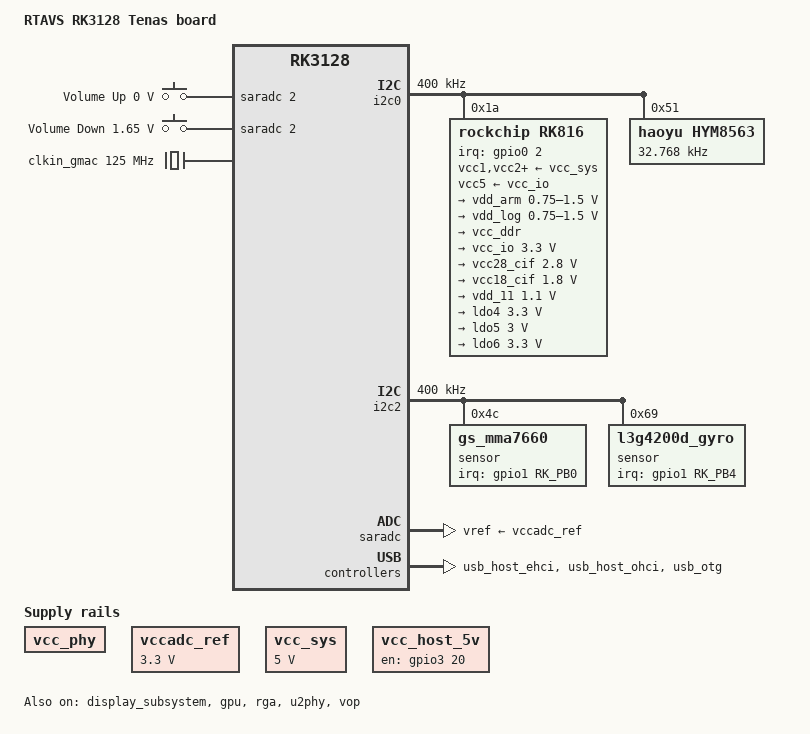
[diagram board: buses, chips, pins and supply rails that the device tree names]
/*
 * This file is dual-licensed: you can use it either under the terms
 * of the GPL or the X11 license, at your option. Note that this dual
 * licensing only applies to this file, and not this project as a
 * whole.
 *
 *  a) This file is free software; you can redistribute it and/or
 *     modify it under the terms of the GNU General Public License as
 *     published by the Free Software Foundation; either version 2 of the
 *     License, or (at your option) any later version.
 *
 *     This file is distributed in the hope that it will be useful,
 *     but WITHOUT ANY WARRANTY; without even the implied warranty of
 *     MERCHANTABILITY or FITNESS FOR A PARTICULAR PURPOSE.  See the
 *     GNU General Public License for more details.
 *
 *  Or, alternatively,
 *
 *  b) Permission is hereby granted, free of charge, to any person
 *     obtaining a copy of this software and associated documentation
 *     files (the "Software"), to deal in the Software without
 *     restriction, including without limitation the rights to use,
 *     copy, modify, merge, publish, distribute, sublicense, and/or
 *     sell copies of the Software, and to permit persons to whom the
 *     Software is furnished to do so, subject to the following
 *     conditions:
 *
 *     The above copyright notice and this permission notice shall be
 *     included in all copies or substantial portions of the Software.
 *
 *     THE SOFTWARE IS PROVIDED "AS IS", WITHOUT WARRANTY OF ANY KIND,
 *     EXPRESS OR IMPLIED, INCLUDING BUT NOT LIMITED TO THE WARRANTIES
 *     OF MERCHANTABILITY, FITNESS FOR A PARTICULAR PURPOSE AND
 *     NONINFRINGEMENT. IN NO EVENT SHALL THE AUTHORS OR COPYRIGHT
 *     HOLDERS BE LIABLE FOR ANY CLAIM, DAMAGES OR OTHER LIABILITY,
 *     WHETHER IN AN ACTION OF CONTRACT, TORT OR OTHERWISE, ARISING
 *     FROM, OUT OF OR IN CONNECTION WITH THE SOFTWARE OR THE USE OR
 *     OTHER DEALINGS IN THE SOFTWARE.
 */

/dts-v1/;
#include <dt-bindings/gpio/gpio.h>
#include <dt-bindings/input/input.h>
#include <dt-bindings/pinctrl/rockchip.h>
#include <dt-bindings/pwm/pwm.h>
#include <dt-bindings/sensor-dev.h>
#include "rk3128.dtsi"
#include "rk312x-android.dtsi"

/ {
	model = "RTAVS RK3128 Tenas board";
	compatible = "rtavs,rk3128-tenas", "rockchip,rk3128";

	adc-keys {
		compatible = "adc-keys";
		io-channels = <&saradc 2>;
		io-channel-names = "buttons";
		poll-interval = <100>;
		keyup-threshold-microvolt = <3300000>;

		button-up {
			label = "Volume Up";
			linux,code = <KEY_VOLUMEUP>;
			press-threshold-microvolt = <0>;
		};

		button-down {
			label = "Volume Down";
			linux,code = <KEY_VOLUMEDOWN>;
			press-threshold-microvolt = <1650000>;
		};
	};

	clkin_gmac: external-gmac-clock {
		compatible = "fixed-clock";
		clock-frequency = <125000000>;
		clock-output-names = "gmac_clkin";
		#clock-cells = <0>;
	};

	vcc_phy: vcc-phy-regulator {
		compatible = "regulator-fixed";
		enable-active-high;
		regulator-name = "vcc_phy";
		regulator-always-on;
		regulator-boot-on;
	};

	vccadc_ref: vccadc-ref {
		compatible = "regulator-fixed";
		regulator-name = "SARADC_AVDD33";
		regulator-always-on;
		regulator-boot-on;
		regulator-min-microvolt = <3300000>;
		regulator-max-microvolt = <3300000>;
	};

	vcc_sys: vcc-sys {
		compatible = "regulator-fixed";
		regulator-name = "vcc_sys";
		regulator-always-on;
		regulator-boot-on;
		regulator-min-microvolt = <5000000>;
		regulator-max-microvolt = <5000000>;
	};

	vcc_host_5v: vcc-host-5v-regulator {
		compatible = "regulator-fixed";
		enable-active-high;
		gpio = <&gpio3 20 GPIO_ACTIVE_HIGH>;
		pinctrl-names = "default";
		pinctrl-0 = <&host_vbus_drv>;
		regulator-name = "vcc_host_5v";
		regulator-always-on;
	};

	wireless-wlan {
		compatible = "wlan-platdata";

		wifi_chip_type = "rtl8723bs";
		/* WIFI,host_wake_irq = <&gpio3 GPIO_C7 GPIO_ACTIVE_HIGH>; */
		status = "okay";
	};
};

&cpu0 {
	cpu-supply = <&vdd_arm>;
};

&display_subsystem {
	status = "okay";
	route {
		route_lvds: route-lvds {
			status = "disabled";
		};
	};
};


&dmc {
	center-supply = <&vdd_log>;
};

&emmc {
	bus-width = <8>;
	cap-mmc-highspeed;
	supports-emmc;
	disable-wp;
	non-removable;
	num-slots = <1>;
	pinctrl-names = "default";
	pinctrl-0 = <&emmc_clk &emmc_cmd &emmc_bus8>;
	status = "disabled";
};

&gpu {
	status = "okay";
	mali-supply = <&vdd_log>;
};

&gmac {
	assigned-clocks = <&cru SCLK_MAC>;
	assigned-clock-parents = <&clkin_gmac>;
	clock_in_out = "input";
	pinctrl-names = "default";
	pinctrl-0 = <&rgmii_pins>;
	phy-supply = <&vcc_phy>;
	phy-mode = "rgmii";
	snps,reset-active-low;
	snps,reset-delays-us = <0 10000 50000>;
	snps,reset-gpio = <&gpio2 24 GPIO_ACTIVE_LOW>;
	tx_delay = <0x30>;
	rx_delay = <0x16>;
	status = "disabled";
};


&i2c0 {
	status = "okay";
	clock-frequency = <400000>;

	rk816: pmic@1a {
		compatible = "rockchip,rk816";
		reg = <0x1a>;
		interrupt-parent = <&gpio0>;
		interrupts = <2 IRQ_TYPE_LEVEL_LOW>;
		pinctrl-names = "default";
		pinctrl-0 = <&pmic_int_l>;
		rockchip,system-power-controller;
		wakeup-source;
		gpio-controller;
		#gpio-cells = <2>;
		#clock-cells = <1>;
		clock-output-names = "xin32k", "rk816-clkout2";
		extcon = <&u2phy>;

		vcc1-supply = <&vcc_sys>;
		vcc2-supply = <&vcc_sys>;
		vcc3-supply = <&vcc_sys>;
		vcc4-supply = <&vcc_sys>;
		vcc5-supply = <&vcc_io>;
		vcc6-supply = <&vcc_sys>;

		gpio {
			status = "okay";
		};

		pwrkey {
			status = "okay";
		};

		rtc {
			status = "okay";
		};

		battery {
			compatible = "rk816-battery";
			ocv_table = < 3500 3625 3685 3697 3718 3735 3748
					3760 3774 3788 3802 3816 3834 3853
					3877 3908 3946 3975 4018 4071 4106>;
			design_capacity = <2500>;
			design_qmax = <2750>;
			bat_res = <100>;
			max_input_current = <1500>;
			max_chrg_current = <1300>;
			max_chrg_voltage = <4200>;
			sleep_enter_current = <300>;
			sleep_exit_current = <300>;
			sleep_filter_current = <100>;
			power_off_thresd = <3500>;
			zero_algorithm_vol = <3850>;
			max_soc_offset = <60>;
			monitor_sec = <5>;
			virtual_power = <0>;
			power_dc2otg = <0>;
			dc_det_adc = <0>;
		};

		regulators {

			vdd_arm: DCDC_REG1{
				regulator-name= "vdd_arm";
				regulator-min-microvolt = <750000>;
				regulator-max-microvolt = <1500000>;
				regulator-ramp-delay = <6001>;
				regulator-always-on;
				regulator-boot-on;
				regulator-state-mem {
					regulator-on-in-suspend;
					regulator-suspend-microvolt = <900000>;
				};
			};

			vdd_log: DCDC_REG2 {
				regulator-name= "vdd_logic";
				regulator-min-microvolt = <750000>;
				regulator-max-microvolt = <1500000>;
				regulator-ramp-delay = <6001>;
				regulator-always-on;
				regulator-boot-on;
				regulator-state-mem {
					regulator-on-in-suspend;
					regulator-suspend-microvolt = <1000000>;
				};
			};

			vcc_ddr: DCDC_REG3 {
				regulator-name = "vcc_ddr";
				regulator-always-on;
				regulator-boot-on;
			};

			vcc_io: DCDC_REG4 {
				regulator-name = "vcc_io";
				regulator-min-microvolt = <3300000>;
				regulator-max-microvolt = <3300000>;
				regulator-always-on;
				regulator-boot-on;
				regulator-state-mem {
					regulator-on-in-suspend;
					regulator-suspend-microvolt = <3000000>;
				};
			};

			vcc28_cif: LDO_REG1 {
				regulator-name = "vcc28_cif";
				regulator-min-microvolt = <2800000>;
				regulator-max-microvolt = <2800000>;
				regulator-always-on;
				regulator-boot-on;
				regulator-state-mem {
					regulator-off-in-suspend;
				};
			};

			vcc18_cif: LDO_REG2 {
				regulator-name = "vcc18_cif";
				regulator-min-microvolt = <1800000>;
				regulator-max-microvolt = <1800000>;
				regulator-always-on;
				regulator-boot-on;
				regulator-state-mem {
					regulator-off-in-suspend;
				};
			};

			vdd_11: LDO_REG3 {
				regulator-name = "vdd_11";
				regulator-min-microvolt = <1100000>;
				regulator-max-microvolt = <1100000>;
				regulator-always-on;
				regulator-boot-on;
				regulator-state-mem {
					regulator-on-in-suspend;
					regulator-suspend-microvolt = <1100000>;
				};
			};

			ldo4: LDO_REG4 {
				regulator-name= "ldo4";
				regulator-min-microvolt = <3300000>;
				regulator-max-microvolt = <3300000>;
				regulator-always-on;
				regulator-boot-on;
				regulator-state-mem {
					regulator-off-in-suspend;
				};
			};

			ldo5: LDO_REG5 {
				regulator-name= "ldo5";
				regulator-min-microvolt = <3000000>;
				regulator-max-microvolt = <3000000>;
				regulator-always-on;
				regulator-boot-on;
				regulator-state-mem {
					regulator-on-in-suspend;
				};
			};

			ldo6: LDO_REG6 {
				regulator-name= "ldo6";
				regulator-min-microvolt = <3300000>;
				regulator-max-microvolt = <3300000>;
				regulator-state-mem {
					regulator-on-in-suspend;
					regulator-suspend-microvolt = <3300000>;
				};
			};
		};
	};

	hym8563: hym8563@51 {
		compatible = "haoyu,hym8563";
		reg = <0x51>;

/*
		interrupt-parent = <&gpio0>;
		interrupts = <11 IRQ_TYPE_EDGE_FALLING>;

		pinctrl-names = "default";
		pinctrl-0 = <&pmic_int_l>;
*/
		#clock-cells = <0>;
		clock-frequency = <32768>;
		clock-output-names = "xin32k";
   };
};



&i2c2 {
	status = "okay";
	clock-frequency = <400000>;

	sensor@4c {
		compatible = "gs_mma7660";
		reg = <0x4c>;
		type = <SENSOR_TYPE_ACCEL>;
		irq-gpio = <&gpio1 RK_PB0 IRQ_TYPE_LEVEL_LOW>;
		irq_enable = <0>;
		poll_delay_ms = <30>;
		layout = <7>;
		reprobe_en = <1>;
	};

	sensor@69 {
		compatible = "l3g4200d_gyro";
		reg = <0x69>;
		type = <SENSOR_TYPE_GYROSCOPE>;
		irq-gpio = <&gpio1 RK_PB4 IRQ_TYPE_LEVEL_LOW>;
		irq_enable = <1>;
		poll_delay_ms = <30>;
		layout = <4>;
	};
};


&pinctrl {

	pmic {
		pmic_int_l: pmic-int-l {
			rockchip,pins = <RK_GPIO3 22 RK_FUNC_GPIO &pcfg_pull_default>;
		};
	};

	usb2 {
		host_vbus_drv: host-vbus-drv {
			rockchip,pins = <3 RK_PC4 RK_FUNC_GPIO &pcfg_pull_none>;
		};
	};
};



&rga {
	status = "okay";
};



&saradc {
	status = "okay";
	vref-supply = <&vccadc_ref>;
};

&sdmmc {
	cap-mmc-highspeed;
	supports-sd;
	broken-cd;
	card-detect-delay = <800>;
	ignore-pm-notify;
	keep-power-in-suspend;
	cd-gpios = <&gpio1 17 GPIO_ACTIVE_HIGH>; /* CD GPIO */
	status = "disabled";
};

&sdio {
	cap-mmc-highspeed;
	supports-sdio;
	ignore-pm-notify;
	keep-power-in-suspend;
	non-removable;
	cap-sdio-irq;
	status = "disabled";
};

&u2phy {
	status = "okay";
	otg-vbus-gpios = <&gpio0 30 GPIO_ACTIVE_HIGH>;

	u2phy_otg: otg-port {
		status = "okay";
	};

	u2phy_host: host-port {
		phy-supply = <&vcc_host_5v>;
		status = "okay";
	};
};

&usb_host_ehci {
	status = "okay";
};

&usb_host_ohci {
	status = "okay";
};

&usb_otg {
	status = "okay";
};

&vop {
	status = "okay";
};

&vop_mmu {
	status = "okay";
};
